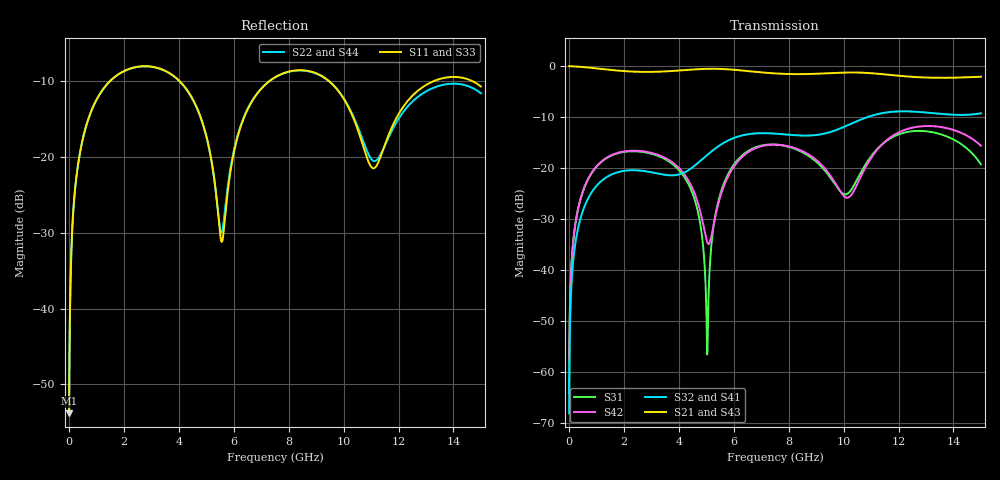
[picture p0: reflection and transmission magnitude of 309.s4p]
! Created with skrf 1.8.0 (http://scikit-rf.org).
# GHz S RI R 50.0
!freq ReS11 ImS11 ReS12 ImS12 ReS13 ImS13
! ReS14 ImS14
! ReS21 ImS21 ReS22 ImS22 ReS23 ImS23
! ReS24 ImS24
! ReS31 ImS31 ReS32 ImS32 ReS33 ImS33
! ReS34 ImS34
! ReS41 ImS41 ReS42 ImS42 ReS43 ImS43
! ReS44 ImS44
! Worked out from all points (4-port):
!   2499 points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, 5 MHz to 15 GHz, reference 50 ohm
!   strongest paths, dB at 5 MHz, 3.476 GHz, 7.19 GHz, 11.1 GHz, 15 GHz:
!     S21: 0.0, -1.0, -1.3, -1.4, -2.1
!     S43: 0.0, -1.0, -1.3, -1.4, -2.1
!     S32: -68.1, -21.3, -13.2, -9.6, -9.3
!     S41: -68.1, -21.3, -13.2, -9.6, -9.3
!     S42: -64.2, -17.9, -15.5, -17.3, -15.6
!     S31: -64.2, -18.2, -15.4, -17.0, -19.3
!   lowest |S11| = -53.8 dB at 5 MHz (marker M1), VSWR 1.00, Z = 50.2 + j0.124 ohm
!   |S11| at or under -10 dB: start of sweep to 1.489 GHz; 4.034 GHz to 7.294 GHz (3.26 GHz wide, 57.6 % of centre); 9.476 GHz to 13.27 GHz (3.797 GHz wide, 33.4 % of centre) (the widest 3 of 4)
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0.005  0.00162 0.00123  0.9984 -0.00315  8.01e-05 0.000611  -7.8e-05 -0.000388
       0.9984 -0.00315  0.00162 0.00123  -7.8e-05 -0.000388  8.02e-05 0.000611
       8.01e-05 0.000611  -7.8e-05 -0.000388  0.00162 0.00123  0.9984 -0.00315
       -7.8e-05 -0.000388  8.02e-05 0.000611  0.9984 -0.00315  0.00162 0.00123
0.3126303  0.0235 0.0813  0.968 -0.1961  0.0102 0.0363  -0.00862 -0.0228
           0.968 -0.1961  0.0235 0.0813  -0.00862 -0.0228  0.0104 0.0363
           0.0102 0.0363  -0.00862 -0.0228  0.0235 0.0813  0.968 -0.1961
           -0.00862 -0.0228  0.0104 0.0363  0.968 -0.1961  0.0235 0.0813
1.519383  0.2618 0.1842  0.5712 -0.7176  0.1163 0.0623  -0.0852 -0.00996
          0.5712 -0.7176  0.2608 0.1848  -0.0853 -0.00988  0.1194 0.0583
          0.1163 0.0623  -0.0853 -0.00988  0.2618 0.1842  0.5712 -0.7175
          -0.0852 -0.00996  0.1194 0.0583  0.5712 -0.7175  0.2608 0.1848
5.033347  0.0609 -0.1157  -0.8753 -0.3431  -0.00139 -0.000538  -0.0456 0.1267
          -0.8753 -0.3431  0.0645 -0.1115  -0.0446 0.1271  -0.0171 -0.00796
          -0.00139 -0.000538  -0.0446 0.1271  0.0602 -0.1156  -0.8753 -0.3431
          -0.0456 0.1267  -0.0171 -0.00796  -0.8753 -0.3431  0.0649 -0.1111
5.92747  0.0499 0.0753  -0.9114 0.1531  0.0463 0.0896  0.0445 0.1883
         -0.9114 0.1531  0.0543 0.0771  0.046 0.1882  0.0345 0.0897
         0.0463 0.0896  0.046 0.1882  0.0488 0.0757  -0.9114 0.1531
         0.0445 0.1883  0.0345 0.0897  -0.9114 0.1531  0.0555 0.0773
8.622343  0.37 -0.039  0.0221 0.835  0.1096 -0.0823  0.1996 -0.0558
          0.0221 0.835  0.3687 -0.0334  0.1998 -0.0594  0.1099 -0.0886
          0.1096 -0.0823  0.1998 -0.0594  0.3701 -0.0354  0.0216 0.8349
          0.1996 -0.0558  0.1099 -0.0886  0.0216 0.8349  0.3694 -0.0366
15  0.2576 -0.1378  -0.2682 -0.7395  0.0612 -0.0899  -0.308 0.1523
    -0.2682 -0.7395  0.2451 -0.0963  -0.3049 0.1602  0.0558 -0.1563
    0.0612 -0.0899  -0.3049 0.1602  0.2521 -0.1369  -0.268 -0.741
    -0.308 0.1523  0.0558 -0.1563  -0.268 -0.741  0.2423 -0.0944
